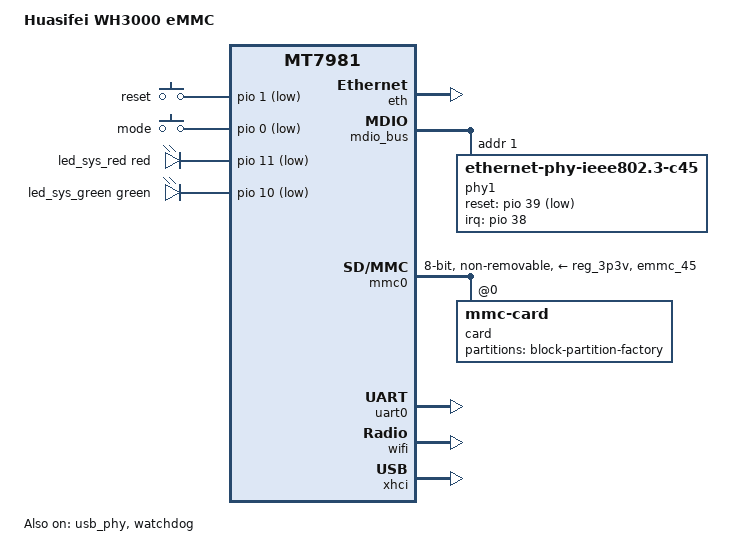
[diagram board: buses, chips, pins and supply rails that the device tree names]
// SPDX-License-Identifier: GPL-2.0-or-later OR MIT

/dts-v1/;

#include <dt-bindings/gpio/gpio.h>
#include <dt-bindings/input/input.h>
#include <dt-bindings/leds/common.h>

#include "mt7981.dtsi"

/ {
	model = "Huasifei WH3000 eMMC";
	compatible = "huasifei,wh3000-emmc", "mediatek,mt7981";

	aliases {
		serial0 = &uart0;
		led-boot = &led_sys_red;
		led-failsafe = &led_sys_red;
		led-running = &led_sys_green;
		led-upgrade = &led_sys_green;
	};

	chosen {
		stdout-path = "serial0:115200n8";
		bootargs-append = " root=PARTLABEL=rootfs rootwait";
	};

	gpio-keys {
		compatible = "gpio-keys";

		reset {
			label = "reset";
			linux,code = <KEY_RESTART>;
			gpios = <&pio 1 GPIO_ACTIVE_LOW>;
		};

		mode {
			label = "mode";
			linux,code = <BTN_0>;
			linux,input-type = <EV_SW>;
			gpios = <&pio 0 GPIO_ACTIVE_LOW>;
			debounce-interval = <60>;
		};
	};

	gpio-leds {
		compatible = "gpio-leds";

		led_sys_red: led-0 {
			color = <LED_COLOR_ID_RED>;
			function = LED_FUNCTION_STATUS;
			gpios = <&pio 11 GPIO_ACTIVE_LOW>;
		};

		led_sys_green: led-1 {
			color = <LED_COLOR_ID_GREEN>;
			function = LED_FUNCTION_STATUS;
			gpios = <&pio 10 GPIO_ACTIVE_LOW>;
		};
	};
};

&eth {
	pinctrl-names = "default";
	pinctrl-0 = <&mdio_pins>;
	status = "okay";

	gmac0: mac@0 {
		compatible = "mediatek,eth-mac";
		reg = <0>;
		phy-mode = "2500base-x";
		phy-handle = <&phy1>;

		nvmem-cells = <&macaddr_factory_4 2>;
		nvmem-cell-names = "mac-address";
	};

	gmac1: mac@1 {
		compatible = "mediatek,eth-mac";
		reg = <1>;
		phy-mode = "gmii";
		phy-handle = <&int_gbe_phy>;

		nvmem-cells = <&macaddr_factory_4 3>;
		nvmem-cell-names = "mac-address";
	};
};

&mdio_bus {
	phy1: ethernet-phy@1 {
		compatible = "ethernet-phy-ieee802.3-c45";
		reg = <1>;
		reset-assert-us = <100000>;
		reset-deassert-us = <100000>;
		reset-gpios = <&pio 39 GPIO_ACTIVE_LOW>;
		interrupts = <38 IRQ_TYPE_LEVEL_LOW>;
		interrupt-parent = <&pio>;
		realtek,aldps-enable;
	};
};

&mmc0 {
	bus-width = <8>;
	cap-mmc-highspeed;
	max-frequency = <52000000>;
	non-removable;
	pinctrl-names = "default", "state_uhs";
	pinctrl-0 = <&mmc0_pins_default>;
	pinctrl-1 = <&mmc0_pins_uhs>;
	vmmc-supply = <&reg_3p3v>;
	status = "okay";

	card@0 {
		compatible = "mmc-card";
		reg = <0>;

		block {
			compatible = "block-device";

			partitions {
				block-partition-factory {
					partname = "factory";

					nvmem-layout {
						compatible = "fixed-layout";
						#address-cells = <1>;
						#size-cells = <1>;

						eeprom_factory_0: eeprom@0 {
							reg = <0x0 0x1000>;
						};

						macaddr_factory_4: macaddr@4 {
							compatible = "mac-base";
							reg = <0x4 0x6>;
							#nvmem-cell-cells = <1>;
						};
					};
				};
			};
		};
	};
};

&pio {
	mmc0_pins_default: mmc0-pins-default {
		mux {
			function = "flash";
			groups = "emmc_45";
		};
	};
	mmc0_pins_uhs: mmc0-pins-uhs {
		mux {
			function = "flash";
			groups = "emmc_45";
		};
	};
};

&uart0 {
	status = "okay";
};

&usb_phy {
	status = "okay";
};

&watchdog {
	status = "okay";
};

&wifi {
	nvmem-cells = <&eeprom_factory_0>;
	nvmem-cell-names = "eeprom";
	status = "okay";
};

&xhci {
	status = "okay";
};
